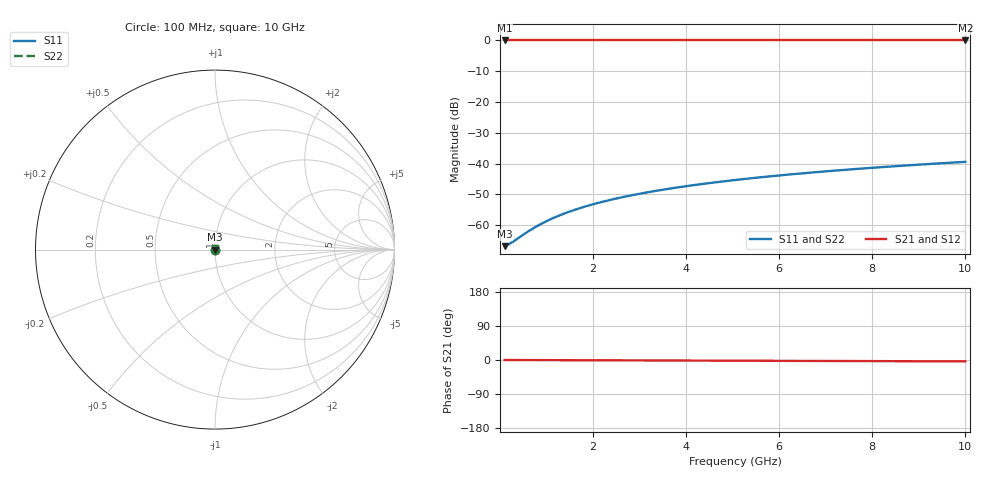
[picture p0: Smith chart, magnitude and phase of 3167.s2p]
# Hz S RI R 50.00
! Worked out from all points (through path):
!   100 points, 100 MHz to 10 GHz, reference 50 ohm
!   highest |S21| = 0.00 dB at 100 MHz (marker M1); lowest = 0.0 dB at 10 GHz (marker M2)
!   lowest |S11| = -66.8 dB at 100 MHz (marker M3), VSWR 1.00, Z = 50 + j0.0106 ohm
!   |S11| at or under -10 dB: start of sweep to end of sweep
!   |S22| runs from -66.8 to -39.4 dB; largest |S21 - S12| = 0
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1e8  0.000442 0.000106  0.9996 -0.000643  0.9996 -0.000643  0.000442 0.000106
2e8  0.000445 0.000213  0.9996 -0.00129  0.9996 -0.00129  0.000445 0.000213
3e8  0.000447 0.000319  0.9995 -0.00193  0.9995 -0.00193  0.000447 0.000319
5e8  0.000451 0.000532  0.9995 -0.00321  0.9995 -0.00321  0.000451 0.000532
7e8  0.000455 0.000744  0.9995 -0.0045  0.9995 -0.0045  0.000455 0.000744
8e8  0.000457 0.000851  0.9995 -0.00514  0.9995 -0.00514  0.000457 0.000851
1e9  0.000461 0.00106  0.9995 -0.00643  0.9995 -0.00643  0.000461 0.00106
1.2e9  0.000465 0.00128  0.9995 -0.00772  0.9995 -0.00772  0.000465 0.00128
1.4e9  0.00047 0.00149  0.9995 -0.009  0.9995 -0.009  0.00047 0.00149
1.6e9  0.000475 0.0017  0.9995 -0.0103  0.9995 -0.0103  0.000475 0.0017
1.8e9  0.000481 0.00191  0.9995 -0.0116  0.9995 -0.0116  0.000481 0.00191
2.1e9  0.00049 0.00223  0.9994 -0.0135  0.9994 -0.0135  0.00049 0.00223
2.5e9  0.000504 0.00266  0.9994 -0.0161  0.9994 -0.0161  0.000504 0.00266
2.9e9  0.00052 0.00308  0.9993 -0.0187  0.9993 -0.0187  0.00052 0.00308
3.4e9  0.000543 0.00361  0.9993 -0.0219  0.9993 -0.0219  0.000543 0.00361
4.2e9  0.000587 0.00446  0.9991 -0.027  0.9991 -0.027  0.000587 0.00446
5.1e9  0.000647 0.00541  0.999 -0.0328  0.999 -0.0328  0.000647 0.00541
5.9e9  0.000709 0.00626  0.9988 -0.038  0.9988 -0.038  0.000709 0.00626
6.7e9  0.00078 0.00711  0.9985 -0.0431  0.9985 -0.0431  0.00078 0.00711
7.5e9  0.00086 0.00795  0.9983 -0.0483  0.9983 -0.0483  0.00086 0.00795
8.4e9  0.00096 0.00891  0.998 -0.0541  0.998 -0.0541  0.00096 0.00891
1e10  0.00117 0.0106  0.9973 -0.0645  0.9973 -0.0645  0.00117 0.0106
